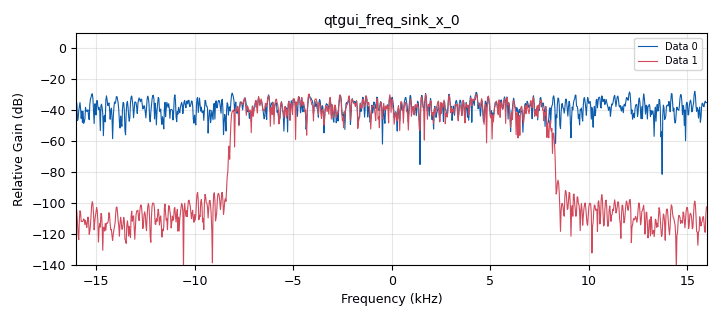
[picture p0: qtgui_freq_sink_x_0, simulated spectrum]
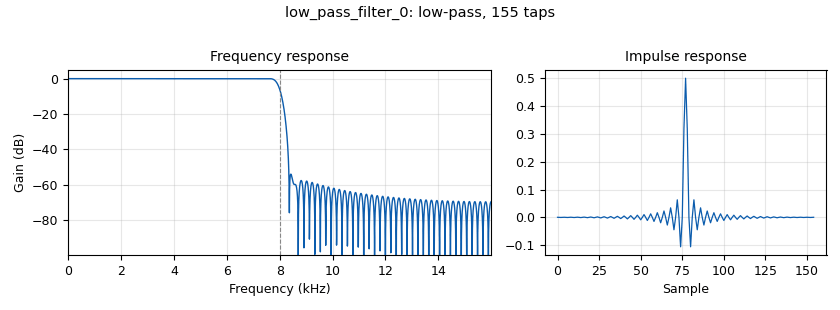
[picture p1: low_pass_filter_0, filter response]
options:
  parameters:
    author: grover
    comment: DECIMATION
    generate_options: qt_gui
    id: script1
    output_language: python
    title: Not titled yet
  states: {}

blocks:
- name: D
  id: variable
  parameters:
    value: '1'
  states: {}
- name: freq
  id: variable_qtgui_range
  parameters:
    orient: Qt.Horizontal
    start: '0'
    step: '1'
    stop: samp_rate/2
    value: '440'
  states: {}
- name: samp_rate
  id: variable
  parameters:
    value: '32000'
  states: {}
- name: analog_noise_source_x_0
  id: analog_noise_source_x
  parameters:
    amp: '1'
    noise_type: analog.GR_GAUSSIAN
    seed: '0'
    type: complex
  states: {}
- name: analog_sig_source_x_0
  id: analog_sig_source_x
  parameters:
    amp: '1'
    freq: freq
    offset: '0'
    phase: '0'
    samp_rate: samp_rate
    type: complex
    waveform: analog.GR_COS_WAVE
  states: {state: disabled}
- name: blocks_keep_one_in_n_0
  id: blocks_keep_one_in_n
  parameters:
    n: D
    type: complex
  states: {state: disabled}
- name: blocks_throttle_0
  id: blocks_throttle
  parameters:
    samples_per_second: samp_rate
    type: complex
  states: {}
- name: low_pass_filter_0
  id: low_pass_filter
  parameters:
    cutoff_freq: samp_rate/2/D/2
    decim: '1'
    gain: '1'
    samp_rate: samp_rate
    type: fir_filter_ccf
    width: samp_rate/64
    win: firdes.WIN_HAMMING
  states: {}
- name: qtgui_freq_sink_x_0
  id: qtgui_freq_sink_x
  parameters:
    bw: samp_rate/D
    comment: Frequency domain
    fc: '0'
    fftsize: '1024'
    grid: 'True'
    nconnections: '2'
    type: complex
    wintype: firdes.WIN_BLACKMAN_hARRIS
  states: {}
- name: qtgui_time_sink_x_0
  id: qtgui_time_sink_x
  parameters:
    comment: TIme DOmain
    size: '1024'
    srate: samp_rate/D
    type: complex
  states: {state: disabled}

connections:
- [analog_noise_source_x_0, '0', blocks_throttle_0, '0']
- [analog_sig_source_x_0, '0', blocks_throttle_0, '0']
- [blocks_keep_one_in_n_0, '0', qtgui_freq_sink_x_0, '0']
- [blocks_keep_one_in_n_0, '0', qtgui_time_sink_x_0, '0']
- [blocks_throttle_0, '0', blocks_keep_one_in_n_0, '0']
- [blocks_throttle_0, '0', low_pass_filter_0, '0']
- [blocks_throttle_0, '0', qtgui_freq_sink_x_0, '0']
- [low_pass_filter_0, '0', qtgui_freq_sink_x_0, '1']
- [low_pass_filter_0, '0', qtgui_time_sink_x_0, '0']

metadata:
  file_format: 1
